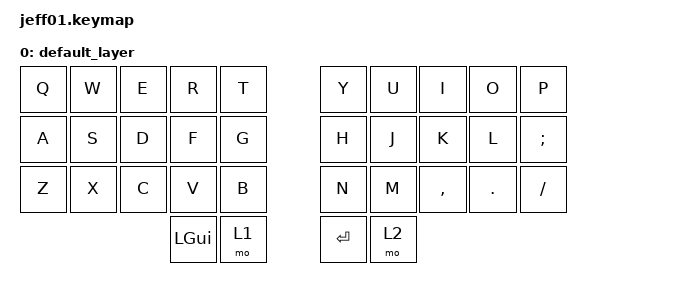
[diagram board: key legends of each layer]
#include <behaviors.dtsi>
#include <dt-bindings/zmk/keys.h>
#include <dt-bindings/zmk/bt.h>

/ {
    keymap {
        compatible = "zmk,keymap";

        default_layer { // Layer 0
            // -----------------------------------------------------------------------------------------
            // |  Q  |  W  |  E  |  R  |  T  |   |  Y  |  U   |  I  |  O  |  P  |
            // |  A  |  S  |  D  |  F  |  G  |   |  H  |  J   |  K  |  L  |  ;  |
            // |  Z  |  X  |  C  |  V  |  B  |   |  N  |  M   |  ,  |  .  |  /  |
            //                   | GUI | LWR |   | ENT | RSE  |
            bindings = <
            &kp Q &kp W &kp E &kp R &kp T   &kp Y &kp U  &kp I     &kp O   &kp P    
            &kp A &kp S &kp D &kp F &kp G   &kp H &kp J  &kp K     &kp L   &kp SEMI 
            &kp Z &kp X &kp C &kp V &kp B   &kp N &kp M  &kp COMMA &kp DOT &kp FSLH 
                            &kp LGUI &mo 1   &kp RET &mo 2 
            >;
        };
    };
 };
